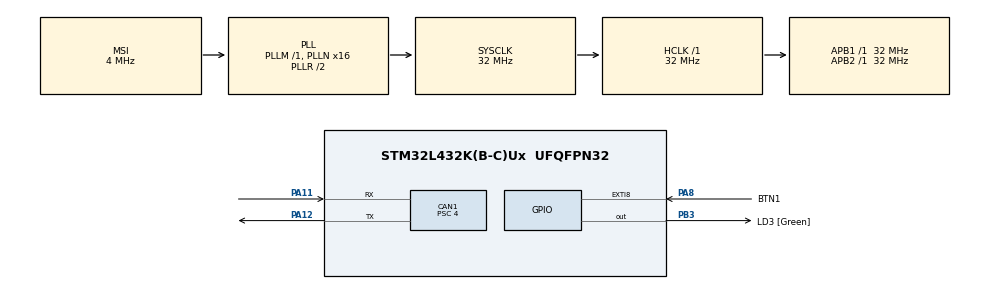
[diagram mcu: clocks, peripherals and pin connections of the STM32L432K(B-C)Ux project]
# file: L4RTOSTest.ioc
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CAN1.ABOM=ENABLE
CAN1.BS1=CAN_BS1_7TQ
CAN1.BS2=CAN_BS2_8TQ
CAN1.CalculateTimeBit=2000
CAN1.CalculateTimeQuantum=125.0
CAN1.NART=ENABLE
CAN1.Prescaler=4
FREERTOS.Tasks01=defaultTask,0,128,StartDefaultTask,Default,NULL
Mcu.Family=STM32L4
Mcu.Name=STM32L432K(B-C)Ux
Mcu.Package=UFQFPN32
NVIC.CAN1_TX_IRQn=true\:5\:0\:false\:false\:true\:true
NVIC.EXTI9_5_IRQn=true\:10\:0\:true\:false\:true\:true
NVIC.PriorityGroup=NVIC_PRIORITYGROUP_4
NVIC.TIM1_UP_TIM16_IRQn=true\:5\:0\:false\:false\:true\:true
NVIC.TimeBase=TIM1_UP_TIM16_IRQn
NVIC.TimeBaseIP=TIM1
PA0-CK_IN.GPIO_Label=MCO [High speed clock in]
PA0-CK_IN.Signal=RCC_CK_IN
PA11.Mode=Master
PA11.Signal=CAN1_RX
PA12.Mode=Master
PA12.Signal=CAN1_TX
PA13\ (JTMS-SWDIO).GPIO_Label=SWDIO
PA13\ (JTMS-SWDIO).Mode=Serial_Wire
PA13\ (JTMS-SWDIO).Signal=SYS_JTMS-SWDIO
PA14\ (JTCK-SWCLK).GPIO_Label=SWCLK
PA14\ (JTCK-SWCLK).Mode=Serial_Wire
PA14\ (JTCK-SWCLK).Signal=SYS_JTCK-SWCLK
PA15\ (JTDI).GPIO_Label=VCP_RX
PA15\ (JTDI).Signal=USART2_RX
PA2.GPIO_Label=VCP_TX
PA2.Signal=USART2_TX
PA8.GPIO_Label=BTN1
PA8.GPIO_ModeDefaultEXTI=GPIO_MODE_IT_FALLING
PA8.GPIO_PuPd=GPIO_PULLUP
PA8.Signal=GPXTI8
PB3\ (JTDO-TRACESWO).GPIO_Label=LD3 [Green]
PB3\ (JTDO-TRACESWO).Signal=GPIO_Output
PC14-OSC32_IN\ (PC14).Signal=RCC_OSC32_IN
PC15-OSC32_OUT\ (PC15).Signal=RCC_OSC32_OUT
ProjectManager.HeapSize=0x200
ProjectManager.StackSize=0x400
ProjectManager.TargetToolchain=SW4STM32
RCC.AHBFreq_Value=32000000
RCC.APB1Freq_Value=32000000
RCC.APB1TimFreq_Value=32000000
RCC.APB2Freq_Value=32000000
RCC.APB2TimFreq_Value=32000000
RCC.CortexFreq_Value=32000000
RCC.HCLKFreq_Value=32000000
RCC.HSE_VALUE=8000000
RCC.HSI16_VALUE=16000000
RCC.HSI48_VALUE=48000000
RCC.HSI_VALUE=16000000
RCC.LSE_VALUE=32768
RCC.MSI_VALUE=4000000
RCC.PLLMUL=RCC_PLLMUL_4
RCC.PLLN=16
RCC.SYSCLKFreq_VALUE=32000000
RCC.SYSCLKSource=RCC_SYSCLKSOURCE_PLLCLK
RCC.VCOOutputFreq_Value=64000000
VP_FREERTOS_VS_ENABLE.Mode=Enabled
VP_SYS_VS_tim1.Mode=TIM1
board=NUCLEO-L432KC

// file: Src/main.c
/**
  ******************************************************************************
  * File Name          : main.c
  * Description        : Main program body
  ******************************************************************************
  *
  * Copyright (c) 2017 STMicroelectronics International N.V.
  * All rights reserved.
  *
  * Redistribution and use in source and binary forms, with or without
  * modification, are permitted, provided that the following conditions are met:
  *
  * 1. Redistribution of source code must retain the above copyright notice,
  *    this list of conditions and the following disclaimer.
  * 2. Redistributions in binary form must reproduce the above copyright notice,
  *    this list of conditions and the following disclaimer in the documentation
  *    and/or other materials provided with the distribution.
  * 3. Neither the name of STMicroelectronics nor the names of other
  *    contributors to this software may be used to endorse or promote products
  *    derived from this software without specific written permission.
  * 4. This software, including modifications and/or derivative works of this
  *    software, must execute solely and exclusively on microcontroller or
  *    microprocessor devices manufactured by or for STMicroelectronics.
  * 5. Redistribution and use of this software other than as permitted under
  *    this license is void and will automatically terminate your rights under
  *    this license.
  *
  * THIS SOFTWARE IS PROVIDED BY STMICROELECTRONICS AND CONTRIBUTORS "AS IS"
  * AND ANY EXPRESS, IMPLIED OR STATUTORY WARRANTIES, INCLUDING, BUT NOT
  * LIMITED TO, THE IMPLIED WARRANTIES OF MERCHANTABILITY, FITNESS FOR A
  * PARTICULAR PURPOSE AND NON-INFRINGEMENT OF THIRD PARTY INTELLECTUAL PROPERTY
  * RIGHTS ARE DISCLAIMED TO THE FULLEST EXTENT PERMITTED BY LAW. IN NO EVENT
  * SHALL STMICROELECTRONICS OR CONTRIBUTORS BE LIABLE FOR ANY DIRECT, INDIRECT,
  * INCIDENTAL, SPECIAL, EXEMPLARY, OR CONSEQUENTIAL DAMAGES (INCLUDING, BUT NOT
  * LIMITED TO, PROCUREMENT OF SUBSTITUTE GOODS OR SERVICES; LOSS OF USE, DATA,
  * OR PROFITS; OR BUSINESS INTERRUPTION) HOWEVER CAUSED AND ON ANY THEORY OF
  * LIABILITY, WHETHER IN CONTRACT, STRICT LIABILITY, OR TORT (INCLUDING
  * NEGLIGENCE OR OTHERWISE) ARISING IN ANY WAY OUT OF THE USE OF THIS SOFTWARE,
  * EVEN IF ADVISED OF THE POSSIBILITY OF SUCH DAMAGE.
  *
  ******************************************************************************
  */
#include "main.h"
#include "stm32l4xx_hal.h"
#include "cmsis_os.h"

CAN_HandleTypeDef hcan1;

osThreadId defaultTaskHandle;

/* USER CODE BEGIN PV */
/* Private variables ---------------------------------------------------------*/
QueueHandle_t q_txcan;
SemaphoreHandle_t m_CAN;
/* USER CODE END PV */

void SystemClock_Config(void);
void Error_Handler(void);
static void MX_GPIO_Init(void);
static void MX_CAN1_Init(void);
void StartDefaultTask(void const * argument);

/* USER CODE BEGIN PFP */
/* Private function prototypes -----------------------------------------------*/

/* USER CODE END PFP */

/* USER CODE BEGIN 0 */
int i;
void taskTest()
{
	for(;;) {
		i ++;
	}
}

void taskTXCAN()
{
	for (;;)
	{
		CanTxMsgTypeDef tx;
		//check if this task is triggered
		if (xQueuePeek(q_txcan, &tx, portMAX_DELAY) == pdTRUE)
		{
			//check if CAN mutex is available
			if (xSemaphoreTake(m_CAN, 50) == pdTRUE)
			{
				//HAL_CAN_StateTypeDef state = HAL_CAN_GetState(car.phcan);
				//if (state != HAL_CAN_STATE_ERROR)
				{
					xQueueReceive(q_txcan, &tx, portMAX_DELAY);  //actually take item out of queue
					if (HAL_CAN_GetState(&hcan1) == HAL_CAN_STATE_READY)

					{
					hcan1.pTxMsg = &tx;
					HAL_CAN_Transmit_IT(&hcan1);
					}

				}
				xSemaphoreGive(m_CAN);  //release CAN mutex
			}

		}
	}
}

/* USER CODE END 0 */

int main(void)
{

  /* MCU Configuration----------------------------------------------------------*/

  /* Reset of all peripherals, Initializes the Flash interface and the Systick. */
  HAL_Init();

  /* Configure the system clock */
  SystemClock_Config();

  /* Initialize all configured peripherals */
  MX_GPIO_Init();
  MX_CAN1_Init();

  /* USER CODE BEGIN 2 */
  xTaskCreate(taskTXCAN, "TX CAN", 256, NULL, 1, NULL);
  m_CAN =			xSemaphoreCreateMutex();
  q_txcan = 		xQueueCreate(3, sizeof(CanTxMsgTypeDef));

  /* USER CODE END 2 */

  /* Create the thread(s) */
  /* definition and creation of defaultTask */
  osThreadDef(defaultTask, StartDefaultTask, osPriorityNormal, 0, 128);
  defaultTaskHandle = osThreadCreate(osThread(defaultTask), NULL);

  /* Start scheduler */
  osKernelStart();

  /* We should never get here as control is now taken by the scheduler */

  /* Infinite loop */
  while (1)
  {

  }

}

/** System Clock Configuration
*/
void SystemClock_Config(void)
{

  RCC_OscInitTypeDef RCC_OscInitStruct;
  RCC_ClkInitTypeDef RCC_ClkInitStruct;

    /**Initializes the CPU, AHB and APB busses clocks
    */
  RCC_OscInitStruct.OscillatorType = RCC_OSCILLATORTYPE_MSI;
  RCC_OscInitStruct.MSIState = RCC_MSI_ON;
  RCC_OscInitStruct.MSICalibrationValue = 0;
  RCC_OscInitStruct.MSIClockRange = RCC_MSIRANGE_6;
  RCC_OscInitStruct.PLL.PLLState = RCC_PLL_ON;
  RCC_OscInitStruct.PLL.PLLSource = RCC_PLLSOURCE_MSI;
  RCC_OscInitStruct.PLL.PLLM = 1;
  RCC_OscInitStruct.PLL.PLLN = 16;
  RCC_OscInitStruct.PLL.PLLP = RCC_PLLP_DIV7;
  RCC_OscInitStruct.PLL.PLLQ = RCC_PLLQ_DIV2;
  RCC_OscInitStruct.PLL.PLLR = RCC_PLLR_DIV2;
  if (HAL_RCC_OscConfig(&RCC_OscInitStruct) != HAL_OK)
  {
    Error_Handler();
  }

    /**Initializes the CPU, AHB and APB busses clocks
    */
  RCC_ClkInitStruct.ClockType = RCC_CLOCKTYPE_HCLK|RCC_CLOCKTYPE_SYSCLK
                              |RCC_CLOCKTYPE_PCLK1|RCC_CLOCKTYPE_PCLK2;
  RCC_ClkInitStruct.SYSCLKSource = RCC_SYSCLKSOURCE_PLLCLK;
  RCC_ClkInitStruct.AHBCLKDivider = RCC_SYSCLK_DIV1;
  RCC_ClkInitStruct.APB1CLKDivider = RCC_HCLK_DIV1;
  RCC_ClkInitStruct.APB2CLKDivider = RCC_HCLK_DIV1;

  if (HAL_RCC_ClockConfig(&RCC_ClkInitStruct, FLASH_LATENCY_1) != HAL_OK)
  {
    Error_Handler();
  }

    /**Configure the main internal regulator output voltage
    */
  if (HAL_PWREx_ControlVoltageScaling(PWR_REGULATOR_VOLTAGE_SCALE1) != HAL_OK)
  {
    Error_Handler();
  }

    /**Configure the Systick interrupt time
    */
  HAL_SYSTICK_Config(HAL_RCC_GetHCLKFreq()/1000);

    /**Configure the Systick
    */
  HAL_SYSTICK_CLKSourceConfig(SYSTICK_CLKSOURCE_HCLK);

  /* SysTick_IRQn interrupt configuration */
  HAL_NVIC_SetPriority(SysTick_IRQn, 15, 0);
}

/* CAN1 init function */
static void MX_CAN1_Init(void)
{

  hcan1.Instance = CAN1;
  hcan1.Init.Prescaler = 4;
  hcan1.Init.Mode = CAN_MODE_NORMAL;
  hcan1.Init.SJW = CAN_SJW_1TQ;
  hcan1.Init.BS1 = CAN_BS1_7TQ;
  hcan1.Init.BS2 = CAN_BS2_8TQ;
  hcan1.Init.TTCM = DISABLE;
  hcan1.Init.ABOM = ENABLE;
  hcan1.Init.AWUM = DISABLE;
  hcan1.Init.NART = ENABLE;
  hcan1.Init.RFLM = DISABLE;
  hcan1.Init.TXFP = DISABLE;
  if (HAL_CAN_Init(&hcan1) != HAL_OK)
  {
    Error_Handler();
  }

}

/** Configure pins as
        * Analog
        * Input
        * Output
        * EVENT_OUT
        * EXTI
     PA2   ------> USART2_TX
     PA15 (JTDI)   ------> USART2_RX
*/
static void MX_GPIO_Init(void)
{

  GPIO_InitTypeDef GPIO_InitStruct;

  /* GPIO Ports Clock Enable */
  __HAL_RCC_GPIOC_CLK_ENABLE();
  __HAL_RCC_GPIOA_CLK_ENABLE();
  __HAL_RCC_GPIOB_CLK_ENABLE();

  /*Configure GPIO pin Output Level */
  HAL_GPIO_WritePin(LD3_GPIO_Port, LD3_Pin, GPIO_PIN_RESET);

  /*Configure GPIO pin : VCP_TX_Pin */
  GPIO_InitStruct.Pin = VCP_TX_Pin;
  GPIO_InitStruct.Mode = GPIO_MODE_AF_PP;
  GPIO_InitStruct.Pull = GPIO_NOPULL;
  GPIO_InitStruct.Speed = GPIO_SPEED_FREQ_VERY_HIGH;
  GPIO_InitStruct.Alternate = GPIO_AF7_USART2;
  HAL_GPIO_Init(VCP_TX_GPIO_Port, &GPIO_InitStruct);

  /*Configure GPIO pin : BTN1_Pin */
  GPIO_InitStruct.Pin = BTN1_Pin;
  GPIO_InitStruct.Mode = GPIO_MODE_IT_FALLING;
  GPIO_InitStruct.Pull = GPIO_PULLUP;
  HAL_GPIO_Init(BTN1_GPIO_Port, &GPIO_InitStruct);

  /*Configure GPIO pin : VCP_RX_Pin */
  GPIO_InitStruct.Pin = VCP_RX_Pin;
  GPIO_InitStruct.Mode = GPIO_MODE_AF_PP;
  GPIO_InitStruct.Pull = GPIO_NOPULL;
  GPIO_InitStruct.Speed = GPIO_SPEED_FREQ_VERY_HIGH;
  GPIO_InitStruct.Alternate = GPIO_AF3_USART2;
  HAL_GPIO_Init(VCP_RX_GPIO_Port, &GPIO_InitStruct);

  /*Configure GPIO pin : LD3_Pin */
  GPIO_InitStruct.Pin = LD3_Pin;
  GPIO_InitStruct.Mode = GPIO_MODE_OUTPUT_PP;
  GPIO_InitStruct.Pull = GPIO_NOPULL;
  GPIO_InitStruct.Speed = GPIO_SPEED_FREQ_LOW;
  HAL_GPIO_Init(LD3_GPIO_Port, &GPIO_InitStruct);

  /* EXTI interrupt init*/
  HAL_NVIC_SetPriority(EXTI9_5_IRQn, 10, 0);
  HAL_NVIC_EnableIRQ(EXTI9_5_IRQn);

}

/* StartDefaultTask function */
void StartDefaultTask(void const * argument)
{

  for(;;)
  {
    osDelay(1);
  }
}

void HAL_TIM_PeriodElapsedCallback(TIM_HandleTypeDef *htim)
{
  if (htim->Instance == TIM1) {
    HAL_IncTick();
  }
}

void Error_Handler(void)
{
  while(1)
  {
  }
}

/************************ (C) COPYRIGHT STMicroelectronics *****END OF FILE****/
